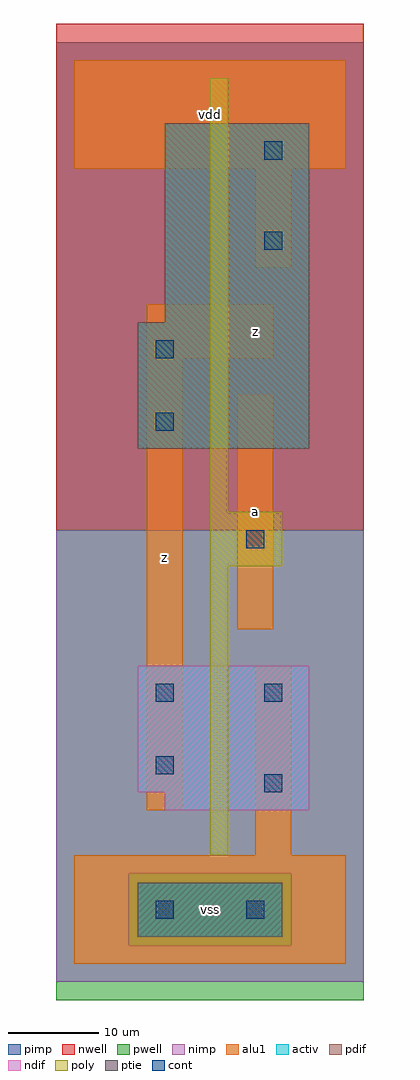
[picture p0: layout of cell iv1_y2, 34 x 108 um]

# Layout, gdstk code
import gdstk
lib = gdstk.Library(unit=1e-6, precision=1e-09)
def R(c, l, rs):  # rectangles x0, y0, x1, y1
    for r in rs: c.add(gdstk.rectangle(r[:2], r[2:], *l))
ndif = (3, 0)
pdif = (4, 0)
ptie = (6, 0)
cont = (25, 0)
pwell = (41, 0)
nwell = (42, 0)
activ = (43, 0)
pimp = (44, 0)
nimp = (45, 0)
poly = (46, 0)
alu1 = (49, 0)

iv1_y2 = lib.new_cell('iv1_y2')
R(iv1_y2, ndif, [(10,17,26,19), (7,19,26,33)])
R(iv1_y2, pdif, [(7,57,26,71), (10,71,26,93)])
R(iv1_y2, ptie, [(7,3,23,9)])
R(iv1_y2, cont, [(9,5,11,7), (19,5,21,7), (21,19,23,21), (9,21,11,23), (9,29,11,31), (21,29,23,31), (19,46,21,48), (9,59,11,61), (9,67,11,69), (21,79,23,81), (21,89,23,91)])
R(iv1_y2, pwell, [(-2,-4,32,48)])
R(iv1_y2, nwell, [(-2,48,32,104)])
R(iv1_y2, activ, [(7,3,23,9), (10,17,26,19), (7,19,26,33), (7,57,26,71), (10,71,26,93)])
R(iv1_y2, pimp, [(6,2,24,10), (-2,48,32,102)])
R(iv1_y2, nimp, [(-2,-2,32,2), (-2,2,6,10), (24,2,32,10), (-2,10,32,48)])
R(iv1_y2, poly, [(15,12,17,44), (15,44,23,50), (15,50,17,98)])
R(iv1_y2, alu1, [(0,0,30,12), (20,12,24,33), (8,17,12,67), (18,37,22,63), (8,67,22,73), (20,77,24,88), (0,88,30,100)])
iv1_y2.add(gdstk.Label('z', (10,45), layer=49, texttype=0))
iv1_y2.add(gdstk.Label('vss', (15,6), layer=49, texttype=0))
iv1_y2.add(gdstk.Label('a', (20,50), layer=49, texttype=0))
iv1_y2.add(gdstk.Label('z', (20,70), layer=49, texttype=0))
iv1_y2.add(gdstk.Label('vdd', (15,94), layer=49, texttype=0))

lib.write_gds('iv1_y2.gds')
